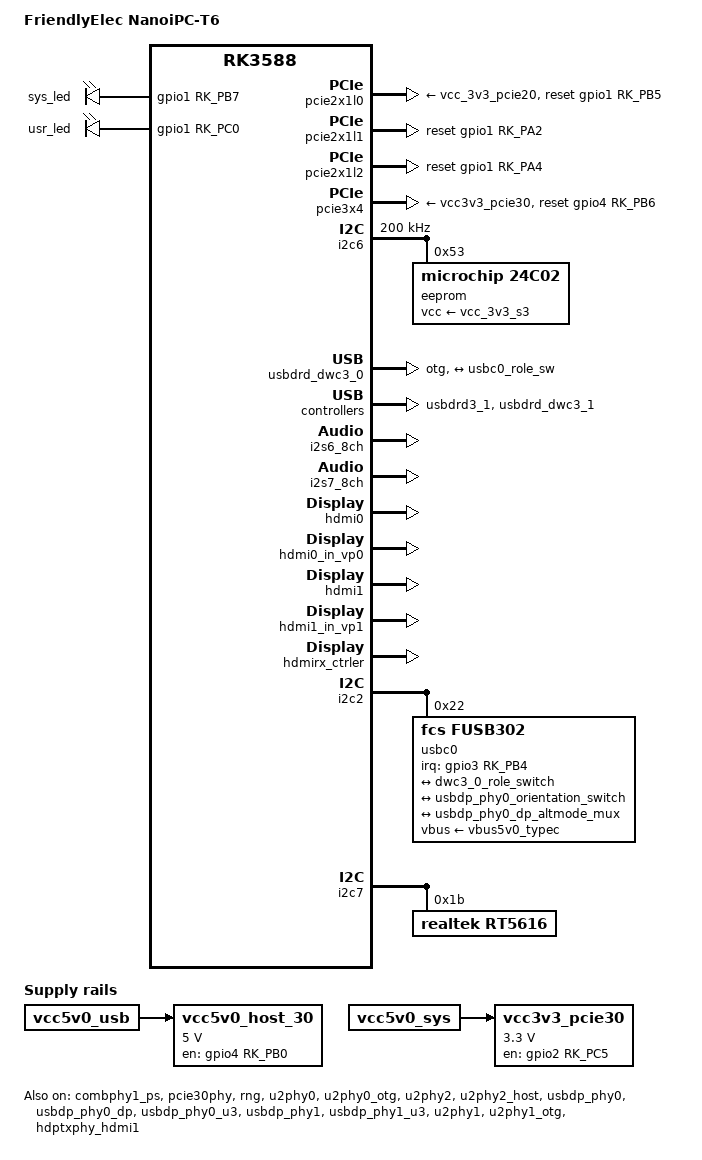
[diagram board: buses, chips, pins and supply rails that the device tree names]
// SPDX-License-Identifier: (GPL-2.0+ OR MIT)
/*
 * Copyright (c) 2022 FriendlyElec Computer Tech. Co., Ltd.
 * (http://www.friendlyelec.com)
 *
 * Copyright (c) 2021 Rockchip Electronics Co., Ltd.
 */

/dts-v1/;

#include "rk3588-nanopi6-common.dtsi"
#include "rk3588.dtsi"

/ {
	model = "FriendlyElec NanoiPC-T6";
	compatible = "friendlyelec,nanopc-t6", "rockchip,rk3588";

	aliases {
		ethernet0 = &r8125_u40;
		ethernet1 = &r8125_u12;
	};

	gpio_leds: gpio-leds {
		compatible = "gpio-leds";

		sys_led: led-0 {
			gpios = <&gpio1 RK_PB7 GPIO_ACTIVE_HIGH>;
			label = "sys_led";
			linux,default-trigger = "heartbeat";
			pinctrl-names = "default";
			pinctrl-0 = <&sys_led_pin>;
		};

		usr_led: led-1 {
			gpios = <&gpio1 RK_PC0 GPIO_ACTIVE_HIGH>;
			label = "usr_led";
			pinctrl-names = "default";
			pinctrl-0 = <&usr_led_pin>;
		};
	};

	vcc5v0_host_30: vcc5v0-host-30 {
		compatible = "regulator-fixed";
		enable-active-high;
		gpio = <&gpio4 RK_PB0 GPIO_ACTIVE_HIGH>;
		pinctrl-names = "default";
		pinctrl-0 = <&vcc5v0_host_30>;
		regulator-name = "vcc5v0_host_30";
		regulator-min-microvolt = <5000000>;
		regulator-max-microvolt = <5000000>;
		vin-supply = <&vcc5v0_usb>;
	};

	vcc3v3_pcie30: vcc3v3-pcie30 {
                compatible = "regulator-fixed";
                enable-active-high;
		gpio = <&gpio2 RK_PC5 GPIO_ACTIVE_HIGH>;
                pinctrl-names = "default";
                pinctrl-0 = <&pcie_m20_pwren>;
                regulator-name = "vcc3v3_pcie30";
		regulator-min-microvolt = <3300000>;
		regulator-max-microvolt = <3300000>;
                vin-supply = <&vcc5v0_sys>;
        };

};

&mach {
	hwrev = <1>;
	model = "NanoPC-T6";
};

&pcie2x1l0 {
	rockchip,init-delay-ms = <100>;
	vpcie3v3-supply = <&vcc_3v3_pcie20>;
	reset-gpios = <&gpio1 RK_PB5 GPIO_ACTIVE_HIGH>;
	status = "okay";

	pcie20@0,0 {
		reg = <0x00200000 0 0 0 0>;
		#address-cells = <3>;
		#size-cells = <2>;

		r8125_u12: pcie20@0,0,0 {
			reg = <0x000000 0 0 0 0>;
			local-mac-address = [ 00 00 00 00 00 00 ];
		};
	};
};

&combphy1_ps {
	status = "okay";
};

&pcie30phy {
	status = "okay";
};

&pcie2x1l1 {
	reset-gpios = <&gpio1 RK_PA2 GPIO_ACTIVE_HIGH>;
};

&pcie2x1l2 {
	reset-gpios = <&gpio1 RK_PA4 GPIO_ACTIVE_HIGH>;
	pcie40@0,0 {
		reg = <0x00400000 0 0 0 0>;
		#address-cells = <3>;
		#size-cells = <2>;

		r8125_u40: pcie40@0,0,0 {
			reg = <0x000000 0 0 0 0>;
			local-mac-address = [ 00 00 00 00 00 00 ];
		};
	};
};

&pcie3x4 {
	status = "okay";
	vpcie3v3-supply = <&vcc3v3_pcie30>;
	reset-gpios = <&gpio4 RK_PB6 GPIO_ACTIVE_HIGH>;
};

&pinctrl {
	gpio-leds {
		sys_led_pin: sys-led-pin {
			rockchip,pins =
				<2 RK_PB7 RK_FUNC_GPIO &pcfg_pull_none>;
		};

		usr_led_pin: usr-led-pin {
			rockchip,pins =
				<2 RK_PC1 RK_FUNC_GPIO &pcfg_pull_none>;
		};

	};

	usb {
		vcc5v0_host30_en: vcc5v0-host30-en {
			rockchip,pins = <4 RK_PB0 RK_FUNC_GPIO &pcfg_pull_none>;
		};
	};

	headphone {
		hp_det: hp-det {
			rockchip,pins = <1 RK_PC4 RK_FUNC_GPIO &pcfg_pull_none>;
		};
	};


	pcie {
		pcie_m20_pwren: pcie-m20-pwren {
			rockchip,pins = <2 RK_PC5 RK_FUNC_GPIO &pcfg_pull_none>;
		};

		pcie_m21_pwren: pcie-m21-pwren {
			rockchip,pins = <4 RK_PC2 RK_FUNC_GPIO &pcfg_pull_none>;
		};
	};
};

&i2c6 {
	clock-frequency = <200000>;
	status = "okay";

	eeprom@53 {
		compatible = "microchip,24c02", "atmel,24c02";
		reg = <0x53>;
		#address-cells = <2>;
		#size-cells = <0>;
		pagesize = <16>;
		size = <256>;
		vcc-supply = <&vcc_3v3_s3>;

		eui_48: eui-48@fa {
			reg = <0xfa 0x06>;
		};
	};
};

&rng {
	status = "okay";
};

&u2phy0 {
	status = "okay";
};

&u2phy0_otg {
	phy-supply = <&vbus5v0_typec>;
	status = "okay";
};

&u2phy2 {
	status = "okay";
};

&u2phy2_host {
	status = "okay";
};


&usbdrd_dwc3_0 {
        dr_mode = "otg";
        usb-role-switch;

        port {
                #address-cells = <1>;
                #size-cells = <0>;
                dwc3_0_role_switch: endpoint@0 {
                        reg = <0>;
                        remote-endpoint = <&usbc0_role_sw>;
                };
        };
};


&usbdp_phy0 {
	orientation-switch;
	rockchip,dp-lane-mux = <0x00 0x01 0x02 0x03>;
	svid = <0xff01>;
	sbu1-dc-gpios = <&gpio4 RK_PA6 GPIO_ACTIVE_HIGH>;
	sbu2-dc-gpios = <&gpio4 RK_PA7 GPIO_ACTIVE_HIGH>;
	status = "okay";

        port {
                #address-cells = <1>;
                #size-cells = <0>;

                usbdp_phy0_orientation_switch: endpoint@0 {
                        reg = <0>;
                        remote-endpoint = <&usbc0_orien_sw>;
                };

                usbdp_phy0_dp_altmode_mux: endpoint@1 {
                        reg = <1>;
                        remote-endpoint = <&dp_altmode_mux>;
                };
        };
};

&usbdp_phy0_dp {
	status = "okay";
};

&usbdp_phy0_u3 {
	status = "okay";
};

&usbdp_phy1 {
	status = "okay";
};

&usbdp_phy1_u3 {
	status = "okay";
};

&u2phy1 {
	status = "okay";
};

&u2phy1_otg {
	status = "okay";
	phy-supply =<&vcc5v0_host_30>;
};

&usbdrd3_1 {
	status = "okay";
};

&usbdrd_dwc3_1 {
	status = "okay";
};

&i2s6_8ch {
	rockchip,always-on;
	rockchip,hdmi-path;
	rockchip,playback-only;
	status = "okay";
};

&i2s7_8ch {
	rockchip,capture-only;
	status = "okay";
};

&hdmi0 {
	cec-enable;
	enable-gpios = <&gpio4 RK_PB1 GPIO_ACTIVE_HIGH>;
	status = "okay";
};

&hdmi0_in_vp0 {
	status = "okay";
};

&hdmi1 {
	enable-gpios = <&gpio4 RK_PB2 GPIO_ACTIVE_HIGH>;
	status = "okay";
};

&hdmi1_in_vp1 {
	status = "okay";
};

&hdmirx_ctrler {
	status = "okay";
	hpd-trigger-level = <1>;
	hdmirx-det-gpios = <&gpio4 RK_PD5 GPIO_ACTIVE_LOW>;
};

&hdptxphy_hdmi1 {
	status = "okay";
};

&vp0 {
	rockchip,plane-mask = <(1 << ROCKCHIP_VOP2_CLUSTER0 | 1 << ROCKCHIP_VOP2_ESMART0 |
				1 << ROCKCHIP_VOP2_CLUSTER3 | 1 << ROCKCHIP_VOP2_ESMART3)>;
	rockchip,primary-plane = <ROCKCHIP_VOP2_ESMART0>;
	cursor-win-id = <ROCKCHIP_VOP2_ESMART3>;
};

&vp3 {
	/delete-property/ rockchip,plane-mask;
	/delete-property/ rockchip,primary-plane;
};

&i2c2 {
	usbc0: fusb302@22 {
		compatible = "fcs,fusb302";
		reg = <0x22>;
		interrupt-parent = <&gpio3>;
		interrupts = <RK_PB4 IRQ_TYPE_LEVEL_LOW>;
		pinctrl-names = "default";
		pinctrl-0 = <&usbc0_int>;
		vbus-supply = <&vbus5v0_typec>;
		status = "okay";

		ports {
			#address-cells = <1>;
			#size-cells = <0>;

			port@0 {
				reg = <0>;
				usbc0_role_sw: endpoint@0 {
					remote-endpoint = <&dwc3_0_role_switch>;
				};
			};
		};

		usb_con: connector {
			compatible = "usb-c-connector";
			label = "USB-C";
			data-role = "dual";
			power-role = "dual";
			try-power-role = "sink";
			op-sink-microwatt = <1000000>;
			sink-pdos =
				<PDO_FIXED(5000, 1000, PDO_FIXED_USB_COMM)>;
			source-pdos =
				<PDO_FIXED(5000, 3000, PDO_FIXED_USB_COMM)>;

			altmodes {
				#address-cells = <1>;
				#size-cells = <0>;

				altmode@0 {
					reg = <0>;
					svid = <0xff01>;
					vdo = <0xffffffff>;
				};
			};

			ports {
				#address-cells = <1>;
				#size-cells = <0>;

				port@0 {
					reg = <0>;
					usbc0_orien_sw: endpoint {
						remote-endpoint = <&usbdp_phy0_orientation_switch>;
					};
				};

				port@1 {
					reg = <1>;
					dp_altmode_mux: endpoint {
						remote-endpoint = <&usbdp_phy0_dp_altmode_mux>;
					};
				};
			};
		};
	};
};

&i2c7 {
	rt5616: rt5616@1b {
		compatible = "realtek,rt5616";
		reg = <0x1b>;
		pinctrl-names = "default";
		pinctrl-0 = <&i2s0_mclk>;
	};
};
